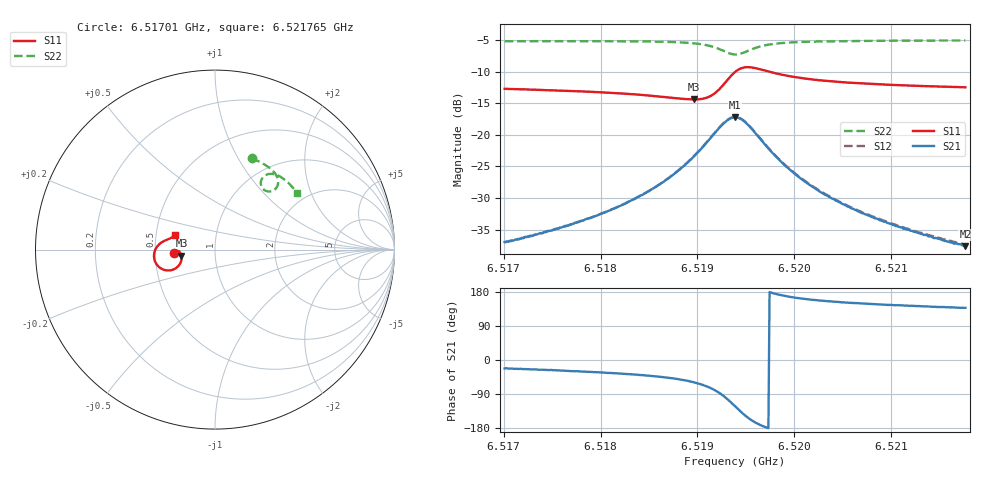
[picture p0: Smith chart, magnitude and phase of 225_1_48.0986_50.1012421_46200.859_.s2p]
#  HZ  S  RI  R  50.00
! Rohde & Schwarz Vector Network Analyzer
! Rohde-Schwarz,ZNB20-2Port,1311601062101988,3.16
! Created: UTC 12/23/2023, 3:57:11 AM
! freq[Hz]  re:S11  im:S11  re:S21  im:S21  re:S12  im:S12  re:S22  im:S22
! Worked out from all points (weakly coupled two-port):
!   401 points, 6.51701 GHz to 6.521765 GHz, reference 50 ohm
!   highest |S21| = -17.24 dB at 6.519388 GHz (marker M1); lowest = -37.6 dB at 6.521765 GHz (marker M2)
!   lowest |S11| = -14.4 dB at 6.51896 GHz (marker M3), VSWR 1.47, Z = 34.2 - j2.4 ohm
!   |S11| at or under -10 dB: start of sweep to 6.519394 GHz; 6.519734 GHz to end of sweep
!   |S22| runs from -7.3 to -5.1 dB; largest |S21 - S12| = 0.0043
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6.5170104e9  -0.2303 -0.0169  0.0132 -0.00544  0.0133 -0.00485  0.2039 0.5088
6.5173075e9  -0.2271 -0.0126  0.0145 -0.00679  0.0148 -0.00634  0.2259 0.5
6.5178067e9  -0.2202 -0.00641  0.018 -0.0106  0.0184 -0.01  0.2627 0.4817
6.5182465e9  -0.2114 -0.00441  0.0228 -0.0169  0.0236 -0.0163  0.2957 0.4609
6.5186031e9  -0.2006 -0.009  0.0289 -0.0279  0.0299 -0.0272  0.3233 0.4375
6.5187932e9  -0.1934 -0.0177  0.0329 -0.0396  0.0342 -0.0387  0.3379 0.4195
6.5189596e9  -0.1871 -0.0339  0.035 -0.0573  0.037 -0.0564  0.3489 0.3969
6.5190785e9  -0.1867 -0.0549  0.0315 -0.0776  0.0343 -0.0773  0.3519 0.3737
6.5191617e9  -0.1937 -0.0764  0.022 -0.0971  0.0253 -0.0973  0.3472 0.3535
6.5192924e9  -0.2362 -0.1124  -0.0213 -0.1257  -0.0177 -0.1273  0.3142 0.325
6.51934e9  -0.2641 -0.1162  -0.047 -0.1263  -0.0436 -0.1286  0.2944 0.3239
6.5193875e9  -0.2939 -0.1089  -0.0728 -0.1166  -0.0699 -0.1195  0.2745 0.3322
6.5194351e9  -0.3188 -0.0902  -0.0929 -0.0977  -0.0909 -0.1012  0.2606 0.3484
6.5194945e9  -0.3365 -0.059  -0.1053 -0.0684  -0.1041 -0.0721  0.255 0.3725
6.5196014e9  -0.3357 -0.00866  -0.099 -0.0255  -0.0992 -0.0286  0.2695 0.4054
6.5197084e9  -0.3193 0.0207  -0.0818 -0.00301  -0.0825 -0.00557  0.2924 0.4194
6.5199105e9  -0.291 0.044  -0.0555 0.0111  -0.0564 0.00965  0.328 0.4206
6.5201838e9  -0.2682 0.0548  -0.0364 0.014  -0.0373 0.013  0.3602 0.4085
6.5205642e9  -0.2507 0.062  -0.0235 0.0131  -0.0242 0.0124  0.3914 0.3868
6.5209802e9  -0.2388 0.0682  -0.0164 0.0113  -0.0171 0.011  0.4183 0.3622
6.5213011e9  -0.232 0.0727  -0.013 0.0103  -0.0137 0.00986  0.4359 0.3427
6.5217646e9  -0.2239 0.0788  -0.00976 0.00889  -0.0104 0.00884  0.4589 0.3141
